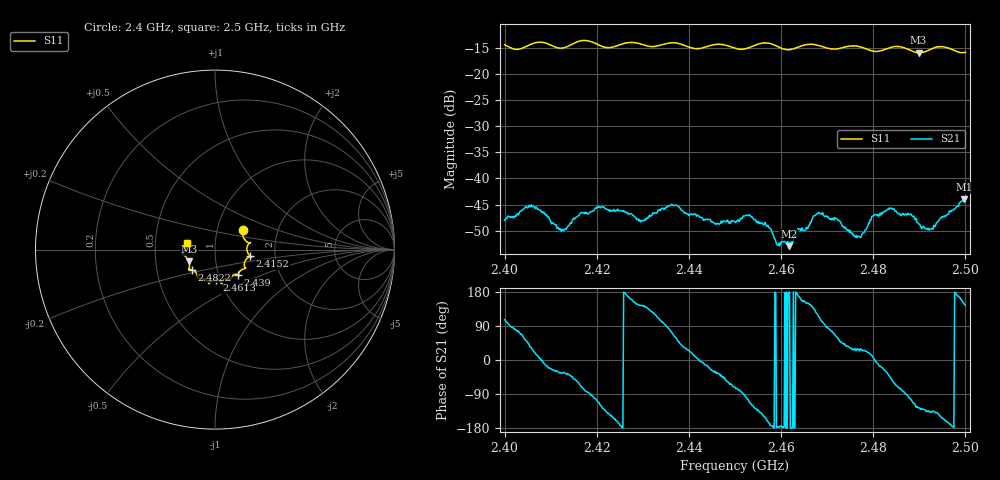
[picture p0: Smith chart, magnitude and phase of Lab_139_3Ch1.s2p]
# Hz S RI R 50
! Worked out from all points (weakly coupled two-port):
!   601 points, 2.4 GHz to 2.5 GHz, reference 50 ohm
!   highest |S21| = -44.01 dB at 2.4997 GHz (marker M1); lowest = -53.0 dB at 2.4617 GHz (marker M2)
!   lowest |S11| = -15.9 dB at 2.4898 GHz (marker M3), VSWR 1.38, Z = 37 - j5.03 ohm
!   |S11| at or under -10 dB: start of sweep to end of sweep
!   S12 and S22 are empty: the file has one direction only
!   S11 on the Smith chart (normalised r, x): 2.4 GHz: 1.33, +0.31; 2.4152 GHz: 1.48, -0.11; 2.439 GHz: 1.24, -0.36; 2.4613 GHz: 0.96, -0.34; 2.4822 GHz: 0.76, -0.17; 2.5 GHz: 0.73, +0.05
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2.4e9  0.1553 0.1114  -0.00114 0.00382  0 0  0 0
2.405833e9  0.1906 0.0374  0.00475 0.00297  0 0  0 0
2.412333e9  0.1773 0.00113  0.00258 -0.00173  0 0  0 0
2.415167e9  0.1952 -0.036  0.00256 -0.00317  0 0  0 0
2.416667e9  0.2049 -0.0421  0.00151 -0.00448  0 0  0 0
2.421e9  0.1788 -0.049  -0.0028 -0.00459  0 0  0 0
2.429667e9  0.1618 -0.107  -0.0031 0.0023  0 0  0 0
2.433333e9  0.1323 -0.1325  -0.00177 0.00466  0 0  0 0
2.439e9  0.1278 -0.1388  0.00393 0.00253  0 0  0 0
2.45e9  0.0689 -0.1633  0.00118 -0.00365  0 0  0 0
2.453167e9  0.038 -0.1763  -0.00168 -0.00411  0 0  0 0
2.461333e9  0.00751 -0.171  -0.00248 -2.04e-06  0 0  0 0
2.461667e9  0.00252 -0.1712  -0.00224 0.000113  0 0  0 0
2.466667e9  -0.0339 -0.1903  -0.00314 0.00251  0 0  0 0
2.472167e9  -0.0677 -0.1608  0.00206 0.00356  0 0  0 0
2.476833e9  -0.0952 -0.1576  0.00247 0.00134  0 0  0 0
2.482167e9  -0.1284 -0.1117  0.00435 -0.00188  0 0  0 0
2.483333e9  -0.1396 -0.1101  0.00402 -0.00327  0 0  0 0
2.489833e9  -0.1456 -0.0662  -0.00223 -0.00298  0 0  0 0
2.4925e9  -0.1706 -0.0317  -0.00242 -0.00221  0 0  0 0
2.499667e9  -0.1583 0.0278  -0.00542 0.00321  0 0  0 0
2.5e9  -0.1584 0.0342  -0.00512 0.00365  0 0  0 0
